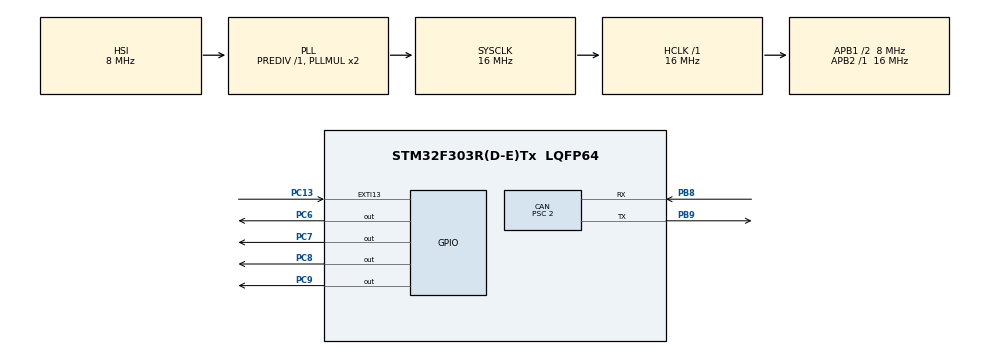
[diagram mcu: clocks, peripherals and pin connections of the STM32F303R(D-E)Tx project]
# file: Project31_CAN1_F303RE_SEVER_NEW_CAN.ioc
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CAN.BS1=CAN_BS1_13TQ
CAN.BS2=CAN_BS2_2TQ
CAN.CalculateTimeQuantum=250.0
CAN.Prescaler=2
Mcu.Family=STM32F3
Mcu.Name=STM32F303R(D-E)Tx
Mcu.Package=LQFP64
NVIC.EXTI15_10_IRQn=true\:0\:1\:false\:false\:true\:true\:true
NVIC.PriorityGroup=NVIC_PRIORITYGROUP_0
NVIC.USB_LP_CAN_RX0_IRQn=true\:0\:2\:true\:false\:true\:true\:true
PB8.Mode=Master
PB8.Signal=CAN_RX
PB9.Mode=Master
PB9.Signal=CAN_TX
PC13.Signal=GPXTI13
PC6.Signal=GPIO_Output
PC7.Signal=GPIO_Output
PC8.Signal=GPIO_Output
PC9.Signal=GPIO_Output
PF0-OSC_IN.Mode=HSE-External-Oscillator
PF0-OSC_IN.Signal=RCC_OSC_IN
PF1-OSC_OUT.Mode=HSE-External-Oscillator
PF1-OSC_OUT.Signal=RCC_OSC_OUT
ProjectManager.HeapSize=0x200
ProjectManager.StackSize=0x400
ProjectManager.TargetToolchain=EWARM V8
RCC.AHBFreq_Value=16000000
RCC.APB1CLKDivider=RCC_HCLK_DIV2
RCC.APB1Freq_Value=8000000
RCC.APB1TimFreq_Value=16000000
RCC.APB2Freq_Value=16000000
RCC.APB2TimFreq_Value=16000000
RCC.CortexFreq_Value=16000000
RCC.HCLKFreq_Value=16000000
RCC.HSE_VALUE=8000000
RCC.HSI_VALUE=8000000
RCC.LSE_VALUE=32768
RCC.PLLM=8
RCC.PLLN=336
RCC.PLLP=RCC_PLLP_DIV4
RCC.PLLQ=7
RCC.RCC_PLLsource_Clock_Source_FROM_HSE=RCC_HSE_PREDIV_DIV2
RCC.SYSCLKFreq_VALUE=16000000
RCC.SYSCLKSourceVirtual=RCC_SYSCLKSOURCE_PLLCLK
RCC.USBFreq_Value=16000000
board=NUCLEO-F303RE

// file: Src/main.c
/* USER CODE BEGIN Header */
/**
  ******************************************************************************
  * @file           : main.c
  * @brief          : Main program body
  ******************************************************************************
  * @attention
  *
  * <h2><center>&copy; Copyright (c) 2021 STMicroelectronics.
  * All rights reserved.</center></h2>
  *
  * This software component is licensed by ST under BSD 3-Clause license,
  * the "License"; You may not use this file except in compliance with the
  * License. You may obtain a copy of the License at:
  *                        opensource.org/licenses/BSD-3-Clause
  *
  ******************************************************************************
  */
/* USER CODE END Header */

#include "main.h"

CAN_HandleTypeDef hcan;

/* USER CODE BEGIN PV */
CAN_HandleTypeDef hcan;
CAN_TxHeaderTypeDef pTxHeader;
CAN_RxHeaderTypeDef pRxHeader;
uint32_t pTxMailbox;
uint8_t a;
uint8_t r;
CAN_FilterTypeDef sFilterConfig;
/* USER CODE END PV */

void SystemClock_Config(void);
static void MX_GPIO_Init(void);
static void MX_CAN_Init(void);

int main(void)
{

  /* MCU Configuration--------------------------------------------------------*/

  /* Reset of all peripherals, Initializes the Flash interface and the Systick. */
  HAL_Init();

  /* Configure the system clock */
  SystemClock_Config();

  /* Initialize all configured peripherals */
  MX_GPIO_Init();
  MX_CAN_Init();
  /* USER CODE BEGIN 2 */

pTxHeader.DLC = 1;
pTxHeader.IDE = CAN_ID_STD;
pTxHeader.RTR = CAN_RTR_DATA;
pTxHeader.StdId = 0x245;

sFilterConfig.FilterFIFOAssignment = CAN_FILTER_FIFO0;
sFilterConfig.FilterIdHigh = 0;
sFilterConfig.FilterIdLow = 0;
sFilterConfig.FilterMaskIdHigh = 0;
sFilterConfig.FilterIdLow = 0;
sFilterConfig.FilterScale = CAN_FILTERSCALE_32BIT;
sFilterConfig.FilterActivation = ENABLE;

HAL_CAN_ConfigFilter(&hcan, &sFilterConfig);

HAL_CAN_Start(&hcan);
HAL_CAN_ActivateNotification(&hcan, CAN_IT_RX_FIFO0_MSG_PENDING);
  /* USER CODE END 2 */

  /* Infinite loop */
  while (1)
  {

  }
}

void SystemClock_Config(void)
{
  RCC_OscInitTypeDef RCC_OscInitStruct = {0};
  RCC_ClkInitTypeDef RCC_ClkInitStruct = {0};

  /** Initializes the CPU, AHB and APB busses clocks
  */
  RCC_OscInitStruct.OscillatorType = RCC_OSCILLATORTYPE_HSI;
  RCC_OscInitStruct.HSIState = RCC_HSI_ON;
  RCC_OscInitStruct.HSICalibrationValue = RCC_HSICALIBRATION_DEFAULT;
  RCC_OscInitStruct.PLL.PLLState = RCC_PLL_ON;
  RCC_OscInitStruct.PLL.PLLSource = RCC_PLLSOURCE_HSI;
  RCC_OscInitStruct.PLL.PLLMUL = RCC_PLL_MUL2;
  RCC_OscInitStruct.PLL.PREDIV = RCC_PREDIV_DIV1;
  if (HAL_RCC_OscConfig(&RCC_OscInitStruct) != HAL_OK)
  {
    Error_Handler();
  }
  /** Initializes the CPU, AHB and APB busses clocks
  */
  RCC_ClkInitStruct.ClockType = RCC_CLOCKTYPE_HCLK|RCC_CLOCKTYPE_SYSCLK
                              |RCC_CLOCKTYPE_PCLK1|RCC_CLOCKTYPE_PCLK2;
  RCC_ClkInitStruct.SYSCLKSource = RCC_SYSCLKSOURCE_PLLCLK;
  RCC_ClkInitStruct.AHBCLKDivider = RCC_SYSCLK_DIV1;
  RCC_ClkInitStruct.APB1CLKDivider = RCC_HCLK_DIV2;
  RCC_ClkInitStruct.APB2CLKDivider = RCC_HCLK_DIV1;

  if (HAL_RCC_ClockConfig(&RCC_ClkInitStruct, FLASH_LATENCY_0) != HAL_OK)
  {
    Error_Handler();
  }
}

static void MX_CAN_Init(void)
{

  hcan.Instance = CAN;
  hcan.Init.Prescaler = 2;
  hcan.Init.Mode = CAN_MODE_NORMAL;
  hcan.Init.SyncJumpWidth = CAN_SJW_1TQ;
  hcan.Init.TimeSeg1 = CAN_BS1_13TQ;
  hcan.Init.TimeSeg2 = CAN_BS2_2TQ;
  hcan.Init.TimeTriggeredMode = DISABLE;
  hcan.Init.AutoBusOff = DISABLE;
  hcan.Init.AutoWakeUp = DISABLE;
  hcan.Init.AutoRetransmission = DISABLE;
  hcan.Init.ReceiveFifoLocked = DISABLE;
  hcan.Init.TransmitFifoPriority = DISABLE;
  if (HAL_CAN_Init(&hcan) != HAL_OK)
  {
    Error_Handler();
  }

}

static void MX_GPIO_Init(void)
{
  GPIO_InitTypeDef GPIO_InitStruct = {0};

  /* GPIO Ports Clock Enable */
  __HAL_RCC_GPIOC_CLK_ENABLE();
  __HAL_RCC_GPIOF_CLK_ENABLE();
  __HAL_RCC_GPIOB_CLK_ENABLE();

  /*Configure GPIO pin Output Level */
  HAL_GPIO_WritePin(GPIOC, GPIO_PIN_6|GPIO_PIN_7|GPIO_PIN_8|GPIO_PIN_9, GPIO_PIN_RESET);

  /*Configure GPIO pin : PC13 */
  GPIO_InitStruct.Pin = GPIO_PIN_13;
  GPIO_InitStruct.Mode = GPIO_MODE_IT_RISING;
  GPIO_InitStruct.Pull = GPIO_NOPULL;
  HAL_GPIO_Init(GPIOC, &GPIO_InitStruct);

  /*Configure GPIO pins : PC6 PC7 PC8 PC9 */
  GPIO_InitStruct.Pin = GPIO_PIN_6|GPIO_PIN_7|GPIO_PIN_8|GPIO_PIN_9;
  GPIO_InitStruct.Mode = GPIO_MODE_OUTPUT_PP;
  GPIO_InitStruct.Pull = GPIO_NOPULL;
  GPIO_InitStruct.Speed = GPIO_SPEED_FREQ_LOW;
  HAL_GPIO_Init(GPIOC, &GPIO_InitStruct);

  /* EXTI interrupt init*/
  HAL_NVIC_SetPriority(EXTI15_10_IRQn, 0, 1);
  HAL_NVIC_EnableIRQ(EXTI15_10_IRQn);

}

void Error_Handler(void)
{
}

/************************ (C) COPYRIGHT STMicroelectronics *****END OF FILE****/
